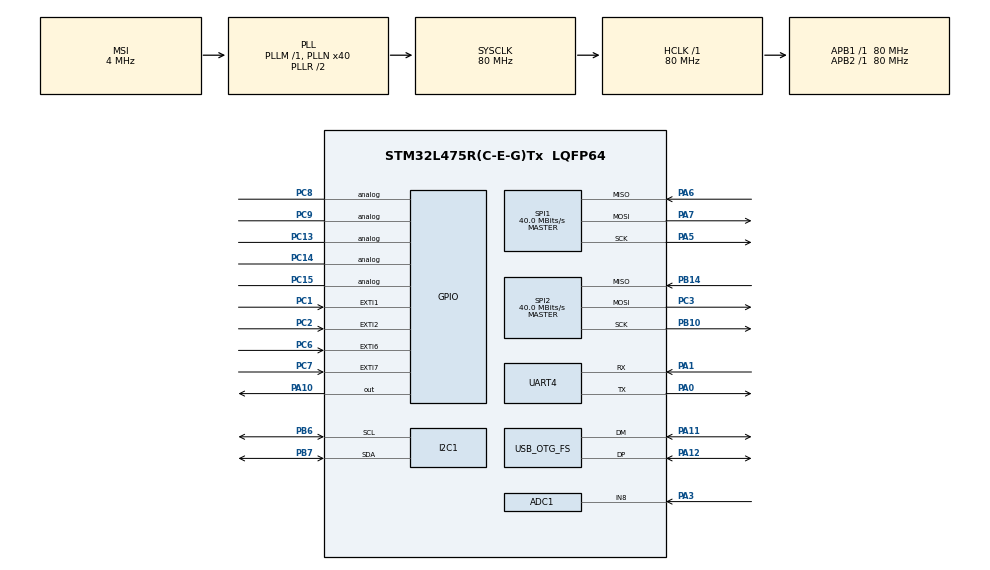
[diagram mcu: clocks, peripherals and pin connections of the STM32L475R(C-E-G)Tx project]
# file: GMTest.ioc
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ADC1.Channel-6\#ChannelRegularConversion=ADC_CHANNEL_8
ADC1.ExternalTrigConv=ADC_EXTERNALTRIG_T2_TRGO
ADC1.NbrOfConversionFlag=1
ADC1.OffsetNumber-6\#ChannelRegularConversion=ADC_OFFSET_NONE
ADC1.Rank-6\#ChannelRegularConversion=1
ADC1.SamplingTime-6\#ChannelRegularConversion=ADC_SAMPLETIME_2CYCLES_5
ADC1.master=1
I2C1.Timing=0x10D19CE4
Mcu.Family=STM32L4
Mcu.Name=STM32L475R(C-E-G)Tx
Mcu.Package=LQFP64
NVIC.ADC1_2_IRQn=true\:0\:0\:false\:false\:true\:true\:true\:true
NVIC.OTG_FS_IRQn=true\:0\:0\:false\:false\:true\:false\:true\:true
NVIC.PriorityGroup=NVIC_PRIORITYGROUP_4
NVIC.TIM2_IRQn=true\:0\:0\:false\:false\:true\:true\:true\:true
PA0.Mode=Asynchronous
PA0.Signal=UART4_TX
PA1.Mode=Asynchronous
PA1.Signal=UART4_RX
PA10.Signal=GPIO_Output
PA11.Mode=Device_Only
PA11.Signal=USB_OTG_FS_DM
PA12.Mode=Device_Only
PA12.Signal=USB_OTG_FS_DP
PA13\ (JTMS-SWDIO).Mode=Serial_Wire
PA13\ (JTMS-SWDIO).Signal=SYS_JTMS-SWDIO
PA14\ (JTCK-SWCLK).Mode=Serial_Wire
PA14\ (JTCK-SWCLK).Signal=SYS_JTCK-SWCLK
PA3.Signal=ADCx_IN8
PA4.Signal=SPI1_NSS
PA5.Mode=Full_Duplex_Master
PA5.Signal=SPI1_SCK
PA6.Mode=Full_Duplex_Master
PA6.Signal=SPI1_MISO
PA7.Mode=Full_Duplex_Master
PA7.Signal=SPI1_MOSI
PB10.Mode=Full_Duplex_Master
PB10.Signal=SPI2_SCK
PB12.Signal=SPI2_NSS
PB14.Mode=Full_Duplex_Master
PB14.Signal=SPI2_MISO
PB6.Mode=I2C
PB6.Signal=I2C1_SCL
PB7.Mode=I2C
PB7.Signal=I2C1_SDA
PB8.Signal=SDMMC1_D4
PB9.Signal=SDMMC1_D5
PC1.Signal=GPXTI1
PC10.Signal=SDMMC1_D2
PC11.Signal=SDMMC1_D3
PC12.Signal=SDMMC1_CK
PC13.Signal=GPIO_Analog
PC14-OSC32_IN\ (PC14).Signal=GPIO_Analog
PC15-OSC32_OUT\ (PC15).Signal=GPIO_Analog
PC2.Signal=GPXTI2
PC3.Mode=Full_Duplex_Master
PC3.Signal=SPI2_MOSI
PC6.Signal=GPXTI6
PC7.Signal=GPXTI7
PC8.Signal=GPIO_Analog
PC9.Signal=GPIO_Analog
PD2.Signal=SDMMC1_CMD
PH0-OSC_IN\ (PH0).Mode=HSE-External-Oscillator
PH0-OSC_IN\ (PH0).Signal=RCC_OSC_IN
PH1-OSC_OUT\ (PH1).Mode=HSE-External-Oscillator
PH1-OSC_OUT\ (PH1).Signal=RCC_OSC_OUT
ProjectManager.HeapSize=0x200
ProjectManager.StackSize=0x400
ProjectManager.TargetToolchain=STM32CubeIDE
RCC.ADCFreq_Value=48000000
RCC.AHBFreq_Value=80000000
RCC.APB1Freq_Value=80000000
RCC.APB1TimFreq_Value=80000000
RCC.APB2Freq_Value=80000000
RCC.APB2TimFreq_Value=80000000
RCC.CortexFreq_Value=80000000
RCC.HCLKFreq_Value=80000000
RCC.HSE_VALUE=8000000
RCC.HSI_VALUE=16000000
RCC.LSE_VALUE=32768
RCC.MSI_VALUE=4000000
RCC.PLLN=40
RCC.PLLSAI1N=24
RCC.SYSCLKFreq_VALUE=80000000
RCC.SYSCLKSource=RCC_SYSCLKSOURCE_PLLCLK
RCC.USBFreq_Value=48000000
RCC.VCOOutputFreq_Value=160000000
SH.ADCx_IN8.0=ADC1_IN8,IN8-Single-Ended
SPI1.BaudRatePrescaler=SPI_BAUDRATEPRESCALER_2
SPI1.CalculateBaudRate=40.0 MBits/s
SPI1.DataSize=SPI_DATASIZE_8BIT
SPI1.Direction=SPI_DIRECTION_2LINES
SPI1.Mode=SPI_MODE_MASTER
SPI1.VirtualType=VM_MASTER
SPI2.BaudRatePrescaler=SPI_BAUDRATEPRESCALER_2
SPI2.CalculateBaudRate=40.0 MBits/s
SPI2.Direction=SPI_DIRECTION_2LINES
SPI2.Mode=SPI_MODE_MASTER
SPI2.VirtualType=VM_MASTER
TIM2.Period=9999
TIM2.Prescaler=39999
TIM2.TIM_MasterOutputTrigger=TIM_TRGO_UPDATE
USB_DEVICE.CLASS_NAME_FS=CDC
USB_DEVICE.VirtualMode=Cdc
USB_DEVICE.VirtualModeFS=Cdc_FS
USB_OTG_FS.VirtualMode=Device_Only
VP_TIM2_VS_ClockSourceINT.Mode=Internal
VP_USB_DEVICE_VS_USB_DEVICE_CDC_FS.Mode=CDC_FS
board=custom

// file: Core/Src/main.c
/* USER CODE BEGIN Header */
/**
  ******************************************************************************
  * @file           : main.c
  * @brief          : Main program body
  ******************************************************************************
  * @attention
  *
  * Copyright (c) 2025 STMicroelectronics.
  * All rights reserved.
  *
  * This software is licensed under terms that can be found in the LICENSE file
  * in the root directory of this software component.
  * If no LICENSE file comes with this software, it is provided AS-IS.
  ******************************************************************************
  * Main board : STM32L475RGT6
  ******************************************************************************
  */
/* USER CODE END Header */
#include "main.h"
#include "adc.h"
#include "i2c.h"
#include "spi.h"
#include "tim.h"
#include "usart.h"
#include "usb_device.h"
#include "gpio.h"

/* USER CODE BEGIN Includes */
#include "stdio.h"
#include "lcd_ui.h"
#include "lcd_driver.h"
/* USER CODE END Includes */

/* USER CODE BEGIN PD */
//#define LCD_LENGTH	320
//#define LCD_HEIGHT	240
//#define TOP_H		(LCD_HEIGHT / 4)           // 60 pixels
//#define GRAPH_H		(LCD_HEIGHT - TOP_H)       // 180 pixels
//#define TOP_Y		0
//#define GRAPH_Y		TOP_H
/* USER CODE END PD */

/* USER CODE BEGIN PV */
uint16_t  ADCValue;
int  glucose;
volatile int new_data = 0;
//uint16_t samples[LCD_LENGTH];
//uint16_t index = 0;
/* USER CODE END PV */

void SystemClock_Config(void);
void PeriphCommonClock_Config(void);
/* USER CODE BEGIN PFP */
int glucoseCalc(uint16_t ADCValue);
//void graph_update(int glucose);
//void LCD_Init(void);
/* USER CODE END PFP */

/* USER CODE BEGIN 0 */
//void HAL_TIM_PeriodElapsedCallback(TIM_HandleTypeDef *htim)
//{
//	// If interrupt came from TIM2
//	if (htim->Instance == TIM2)
//	{
//		// Clear interrupt flag
//		__HAL_TIM_CLEAR_IT(&htim2, TIM_IT_UPDATE);
//
//		// Set flag to indicate timer event
//		tim2_flag = 1;
//	}
//}
void HAL_ADC_ConvCpltCallback(ADC_HandleTypeDef *hadc)
{
	// If interrupt came from ADC1
    if (hadc->Instance == ADC1) {

    	// Sample ADC
    	ADCValue = HAL_ADC_GetValue(hadc);
    	printf("ADC: %d\r\n", ADCValue);

    	// Set flag to indicate adc value event
		new_data = 1;

    }
}
int glucoseCalc(uint16_t ADCValue)
{
	// TODO: Placeholder for glucose calculation logic
	return ADCValue; // Replace with actual calculation
}
/* USER CODE END 0 */

int main(void)
{

  /* MCU Configuration--------------------------------------------------------*/

  /* Reset of all peripherals, Initializes the Flash interface and the Systick. */
  HAL_Init();

  /* Configure the system clock */
  SystemClock_Config();

  /* Configure the peripherals common clocks */
  PeriphCommonClock_Config();

  /* USER CODE BEGIN SysInit */
  // Disable interrupts during setup
  //__disable_irq();
  /* USER CODE END SysInit */

  /* Initialize all configured peripherals */
  MX_GPIO_Init();
  MX_TIM2_Init();
  MX_ADC1_Init();
  MX_I2C1_Init();
  MX_SPI1_Init();
  MX_SPI2_Init();
  MX_UART4_Init();
  MX_USB_DEVICE_Init();
  /* USER CODE BEGIN 2 */

  /* Port Configurations
   * TIM2 - ADC Sampling
   * ADC1 - Glucose Sensor Input
   * I2C1 - Potentiostat
   * SPI1 - Touch Screen Display
   * SPI2 - Spare SPI channels
   * UART4 - PC Debug and Programming
   * USB - USB-C Port
   */

  // Init screen, alarm, user inputs
  LCD_Init();
  LCD_FillScreen(LCD_BLACK);
  LCD_FillRect(10, 10, 100, 50, LCD_RED);

  LCD_UI_Init();
  LCD_UI_SetLabel("Glucose (mg/dL)"); // or "ADC Value"
  //Alarm_Init();

  // Glucose ranges before alerts
  int lower_limit = 70;
  int upper_limit = 150;

  //printf("\r\n=== STM32L475RGT6 UART Test ===\r\n");
  printf("\r\n=== KINGSLEY IS THE GOAT ===\r\n");
  printf("SYSCLK: %lu Hz, PCLK1: %lu Hz\r\n",
         HAL_RCC_GetSysClockFreq(), HAL_RCC_GetPCLK1Freq());

  // Testing functions by setting and resetting pin for Buzzer
  //HAL_GPIO_WritePin(GPIOA, GPIO_PIN_10, GPIO_PIN_SET);
  //HAL_GPIO_WritePin(GPIOA, GPIO_PIN_10, GPIO_PIN_RESET);
  //HAL_GPIO_TogglePin(GPIOA, GPIO_PIN_10); // typically fast; but avoid if HAL_GPIO uses locking

  // Enable interrupts
  HAL_TIM_Base_Start_IT(&htim2);
  HAL_ADC_Start_IT(&hadc1);

  /* USER CODE END 2 */

  /* Infinite loop */
  /* USER CODE BEGIN WHILE */
  while (1) {
	  // TODO - Implement graph functionality, dummy glucose data below
	  if (new_data) {
		  // Calculate glucose from ADC value
		  glucose = glucoseCalc(ADCValue);
		  printf("Glucose: %d mg/dL\r\n", glucose);

		  LCD_UI_UpdateCurrentValue(ADCValue);
		  LCD_UI_AddSample(ADCValue);
		  //graph_update(glucose);
		  new_data = 0;
	  }
	  /*
	   * Update graph on touchscreen LCD
	   * InsertMethodHere();
	   *
	   * Update_trend(ADCValue);
	   * if (glucose < lower_limit || glucose > upper_limit)
	   *   {
	   *     Alarm_On();
	   *   }
	   *
	   *   LogData(glucose);
	   *   ADR_Ready_Flag = 0;
	   */

    /* USER CODE END WHILE */

  }
}

void SystemClock_Config(void)
{
  RCC_OscInitTypeDef RCC_OscInitStruct = {0};
  RCC_ClkInitTypeDef RCC_ClkInitStruct = {0};

  /** Configure the main internal regulator output voltage
  */
  if (HAL_PWREx_ControlVoltageScaling(PWR_REGULATOR_VOLTAGE_SCALE1) != HAL_OK)
  {
    Error_Handler();
  }

  /** Initializes the RCC Oscillators according to the specified parameters
  * in the RCC_OscInitTypeDef structure.
  */
  RCC_OscInitStruct.OscillatorType = RCC_OSCILLATORTYPE_MSI;
  RCC_OscInitStruct.MSIState = RCC_MSI_ON;
  RCC_OscInitStruct.MSICalibrationValue = 0;
  RCC_OscInitStruct.MSIClockRange = RCC_MSIRANGE_6;
  RCC_OscInitStruct.PLL.PLLState = RCC_PLL_ON;
  RCC_OscInitStruct.PLL.PLLSource = RCC_PLLSOURCE_MSI;
  RCC_OscInitStruct.PLL.PLLM = 1;
  RCC_OscInitStruct.PLL.PLLN = 40;
  RCC_OscInitStruct.PLL.PLLP = RCC_PLLP_DIV7;
  RCC_OscInitStruct.PLL.PLLQ = RCC_PLLQ_DIV2;
  RCC_OscInitStruct.PLL.PLLR = RCC_PLLR_DIV2;
  if (HAL_RCC_OscConfig(&RCC_OscInitStruct) != HAL_OK)
  {
    Error_Handler();
  }

  /** Initializes the CPU, AHB and APB buses clocks
  */
  RCC_ClkInitStruct.ClockType = RCC_CLOCKTYPE_HCLK|RCC_CLOCKTYPE_SYSCLK
                              |RCC_CLOCKTYPE_PCLK1|RCC_CLOCKTYPE_PCLK2;
  RCC_ClkInitStruct.SYSCLKSource = RCC_SYSCLKSOURCE_PLLCLK;
  RCC_ClkInitStruct.AHBCLKDivider = RCC_SYSCLK_DIV1;
  RCC_ClkInitStruct.APB1CLKDivider = RCC_HCLK_DIV1;
  RCC_ClkInitStruct.APB2CLKDivider = RCC_HCLK_DIV1;

  if (HAL_RCC_ClockConfig(&RCC_ClkInitStruct, FLASH_LATENCY_4) != HAL_OK)
  {
    Error_Handler();
  }
}

void PeriphCommonClock_Config(void)
{
  RCC_PeriphCLKInitTypeDef PeriphClkInit = {0};

  /** Initializes the peripherals clock
  */
  PeriphClkInit.PeriphClockSelection = RCC_PERIPHCLK_USB|RCC_PERIPHCLK_ADC;
  PeriphClkInit.AdcClockSelection = RCC_ADCCLKSOURCE_PLLSAI1;
  PeriphClkInit.UsbClockSelection = RCC_USBCLKSOURCE_PLLSAI1;
  PeriphClkInit.PLLSAI1.PLLSAI1Source = RCC_PLLSOURCE_MSI;
  PeriphClkInit.PLLSAI1.PLLSAI1M = 1;
  PeriphClkInit.PLLSAI1.PLLSAI1N = 24;
  PeriphClkInit.PLLSAI1.PLLSAI1P = RCC_PLLP_DIV7;
  PeriphClkInit.PLLSAI1.PLLSAI1Q = RCC_PLLQ_DIV2;
  PeriphClkInit.PLLSAI1.PLLSAI1R = RCC_PLLR_DIV2;
  PeriphClkInit.PLLSAI1.PLLSAI1ClockOut = RCC_PLLSAI1_48M2CLK|RCC_PLLSAI1_ADC1CLK;
  if (HAL_RCCEx_PeriphCLKConfig(&PeriphClkInit) != HAL_OK)
  {
    Error_Handler();
  }
}

/* USER CODE BEGIN 4 */
int _write(int file, char *ptr, int len)
{
    HAL_UART_Transmit(&huart4, (uint8_t*)ptr, len, HAL_MAX_DELAY);
    return len;
}
/* USER CODE END 4 */

void Error_Handler(void)
{
  __disable_irq();
  while (1)
  {
  }
}
